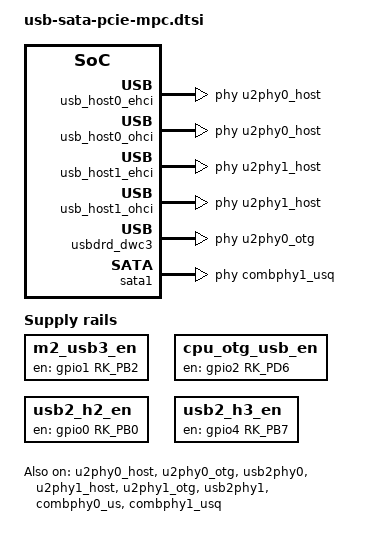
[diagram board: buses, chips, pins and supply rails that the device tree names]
/{

/*
	This is dummy regulator.
	It is used to have ability to switch X14 between SATA and USB
*/
	m2_usb3_en: m2-usb3-en {
		compatible = "regulator-fixed";
		enable-active-high;
		// M2_USB3.0_EN  PD(R161)
		gpio = <&gpio1 RK_PB2 GPIO_ACTIVE_HIGH>;
		pinctrl-names = "default";
		pinctrl-0 = <&m2_usb3_en_pin>;
		regulator-name = "m2_usb3_en";
		//regulator-always-on;
		regulator-always-off;
	};

/*
	This is dummy regulator.
	It is used to have ability to supply X4 USB3 OTG with power
*/
	cpu_otg_usb_en: cpu-otg-usb-en {
		compatible = "regulator-fixed";
		enable-active-high;
		// CPU_USB_OTG_EN -> D3, X4
		gpio = <&gpio2 RK_PD6 GPIO_ACTIVE_HIGH>;
		pinctrl-names = "default";
		pinctrl-0 = <&cpu_otg_usb_en_pin>;
		regulator-name = "cpu_otg_usb_en";
		regulator-always-on;
		//regulator-always-off;
	};

/*
	This is dummy regulator.
	It is used to have ability to supply X5[0] USB2 HOST with power
*/
	usb2_h2_en: usb2-h2-en {
		compatible = "regulator-fixed";
		enable-active-high;
		// CPU_USB_OTG_EN -> D4, X5[0]
		gpio = <&gpio0 RK_PB0 GPIO_ACTIVE_HIGH>;
		pinctrl-names = "default";
		pinctrl-0 = <&usb2_h2_en_pin>;
		regulator-name = "usb2_h2_en";
		regulator-always-on;
		//regulator-always-off;
	};

/*
	This is dummy regulator.
	It is used to have ability to supply X5[1] USB2 HOST with power
*/
	usb2_h3_en: usb2-h3-en {
		compatible = "regulator-fixed";
		enable-active-high;
		// CPU_USB_OTG_EN -> D4, X5[1]
		gpio = <&gpio4 RK_PB7 GPIO_ACTIVE_HIGH>;
		pinctrl-names = "default";
		pinctrl-0 = <&usb2_h3_en_pin>;
		regulator-name = "usb2_h3_en";
		regulator-always-on;
		//regulator-always-off;
	};
/*
	vcc5v0_usb: vcc5v0-usb {
		compatible = "regulator-fixed";
		enable-active-high;
		// gpio = <&gpio0 RK_PD5 GPIO_ACTIVE_HIGH>;
		regulator-name = "vcc5v0_usb";
		regulator-always-on;
		regulator-boot-on;
		regulator-min-microvolt = <5000000>;
		regulator-max-microvolt = <5000000>;
		vin-supply = <&dc_12v>;
	};

	vcc5v0_usb_host: vcc5v0-usb-host {
		compatible = "regulator-fixed";
		enable-active-high;
		// gpio = <&gpio0 RK_PD6 GPIO_ACTIVE_HIGH>;
		pinctrl-names = "default";
		// pinctrl-0 = <&vcc5v0_usb_host_en>;
		regulator-name = "vcc5v0_usb_host";
		regulator-min-microvolt = <5000000>;
		regulator-max-microvolt = <5000000>;
		vin-supply = <&vcc5v0_usb>;
	};

	vcc5v0_usb_otg: vcc5v0-usb-otg {
		compatible = "regulator-fixed";
		enable-active-high;
		// gpio = <&gpio0 RK_PD5 GPIO_ACTIVE_HIGH>;
		pinctrl-names = "default";
		// pinctrl-0 = <&vcc5v0_usb_otg_en>;
		regulator-name = "vcc5v0_usb_otg";
		regulator-min-microvolt = <5000000>;
		regulator-max-microvolt = <5000000>;
		vin-supply = <&vcc5v0_usb>;
	};
*/
};

/*
	USB2_HOST2
*/

/*
	This controller is connected to X5 upper port
*/
&usb_host0_ehci {
	phys = <&u2phy0_host>;
	phy-names = "usb";
	status = "okay";
};

/*
	This controller is connected to X5 upper port
*/
&usb_host0_ohci {
	phys = <&u2phy0_host>;
	phy-names = "usb";
	status = "okay";
};

&u2phy0_host {
	//phy-supply = <&vcc5v0_usb_host>;
	phy-supply = <&usb2_h2_en>;
	status = "okay";
};

&u2phy0_otg {
	//phy-supply = <&vcc5v0_usb_otg>;
	phy-supply = <&cpu_otg_usb_en>;
	status = "okay";
};

&usb2phy0 {
	status = "okay";
};

/*
	USB2_HOST3
*/

/*
	This controller is connected to X5 lower port
*/
&usb_host1_ehci {
	phys = <&u2phy1_host>;
	phy-names = "usb";
	status = "okay";
};

/*
	This controller is connected to X5 lower port
*/
&usb_host1_ohci {
	phys = <&u2phy1_host>;
	phy-names = "usb";
	status = "okay";
};


&u2phy1_host {
	//phy-supply = <&vcc5v0_usb_host>;
	phy-supply = <&usb2_h3_en>;
	status = "okay";
};


&u2phy1_otg {
	//phy-supply = <&vcc5v0_usb_host>;
	phy-supply = <&usb2_h3_en>;
	status = "okay";
};

&usb2phy1 {
	status = "okay";
};

/*
	USB3_OTG0 or SATA0
*/
// X4
&usbdrd_dwc3 {
	phys = <&u2phy0_otg>, <&combphy0_us PHY_TYPE_USB3>;
	phy-names = "usb2-phy";
	maximum-speed = "high-speed";
	snps,dis_u2_susphy_quirk;
	// If this controller is enabled, sata0 must be disabled
	status = "okay";
};

// If this controller is enabled, usbdrd_dwc3 must be disabled
&sata0 {
	status = "disabled";
};


// This controller is phy for usbdrd_dwc3 and sata0 controllers
&combphy0_us {
	status = "okay";
};

/*
	USB3_HOST1 or SATA1
*/

/*
	Signals form usbhost_dwc3 and sata1 controllers controllers go through D12(switch)(EXT_SATA_EN) and D10(switch)(M2_USB3.0_EN) to X14(m.2B) or X16(SATA).
	To supply X16(SATA) with signals from SATA1 it needs to set EXT_SATA_EN=1 (+3.3v) and disable usbhost_dwc3 controller.
	To supply X14(m.2B) with signals from SATA1 it needs to set EXT_SATA_EN=0 (GND) and disable usbhost_dwc3 controller.
	To supply X14(m.2B) with signals from USB3_HOS1 it needs to set EXT_SATA_EN=0 (GND), M2_USB3.0_EN=1 (+3.3v) and disable sata1 controller.
	By defaults M2_USB3.0_EN signal is pulled down via R161 and EXT_SATA_EN signal is pulled down via R165 and can be pulled up via X17.
*/
&usbhost_dwc3 {
	phys = <&u2phy0_host>, <&combphy1_usq PHY_TYPE_USB3>;
	phy-names = "usb2-phy";
	maximum-speed = "high-speed";
	// If this controller is enabled, sata1 must be disabled
	status = "disabled";
};

// This board doesn't use this controller
&sata1 {
	phys = <&combphy1_usq PHY_TYPE_SATA>;
	phy-names = "sata-phy";

	// If this controller is enabled, usbhost_dwc3 must be disabled
	status = "okay";
};

// This controller is phy for usbhost_dwc3 and sata1 controllers
&combphy1_usq {
	status = "okay";
};

/*
	PCIE2x1 or SATA2
*/

// This board doesn't use this controller
&pcie2x1 {
	phys = <&combphy2_psq PHY_TYPE_PCIE>;
	phy-names = "pcie-phy";
	status = "disabled";
};

/*
	SATA2 <-> D13 (switch) <-> X18 (m.2B/M)
	he signals from SATA2 go through D13 in case if M2_CONFIG signal is set to low level (GND).
	By default M2_CONFIG is set up to high level (+3.3v) via R177
*/
&sata2 {
    phys = <&combphy2_psq PHY_TYPE_SATA>;
    status = "disabled";
};

// This controller is phy for pcie2x1 and sata2 controllers
&combphy2_psq {
	status = "disabled";
};

&pinctrl {
	sata_usb {
		m2_usb3_en_pin: m2-usb3-en-pin {
			// M2_USB3.0_EN
			rockchip,pins = <1 RK_PB2 RK_FUNC_GPIO &pcfg_pull_none>;
		};
	};

	usb {
		cpu_otg_usb_en_pin: cpu-otg-usb-en-pin{
			// CPU_USB_OTG_EN, X4
			rockchip,pins = <2 RK_PD6 RK_FUNC_GPIO &pcfg_pull_none>;
		};

		usb2_h2_en_pin: usb2-h2-en-pin{
			// USB2_H2_EN, X5[0]
			rockchip,pins = <0 RK_PB0 RK_FUNC_GPIO &pcfg_pull_none>;
		};

		usb2_h3_en_pin: usb2-h3-en-pin{
			// USB2_H3_EN, X5[1]
			rockchip,pins = <4 RK_PB7 RK_FUNC_GPIO &pcfg_pull_none>;
		};
	};
};
